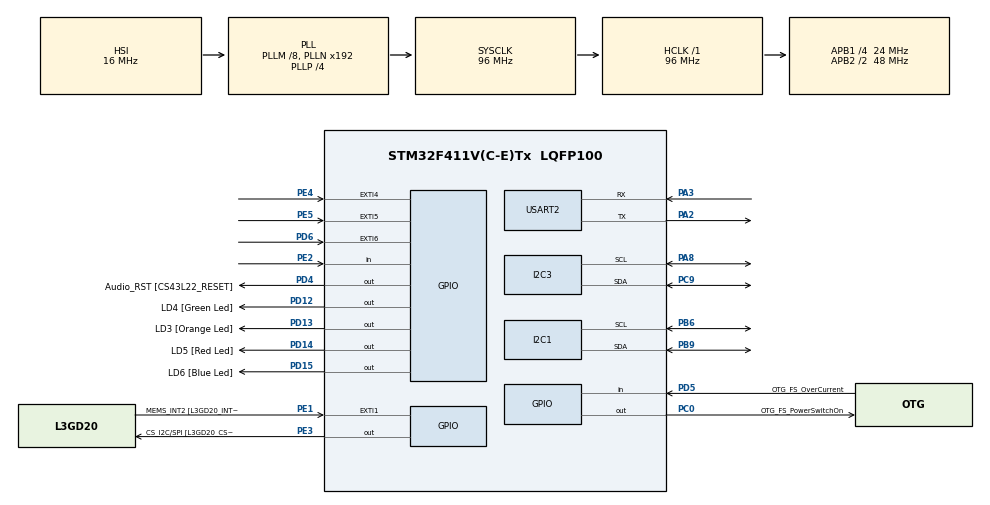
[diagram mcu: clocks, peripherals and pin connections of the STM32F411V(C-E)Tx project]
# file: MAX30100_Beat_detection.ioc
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I2C1.I2C_Mode=I2C_Fast
I2C3.I2C_Mode=I2C_Fast
Mcu.Family=STM32F4
Mcu.Name=STM32F411V(C-E)Tx
Mcu.Package=LQFP100
NVIC.EXTI9_5_IRQn=true\:0\:0\:false\:false\:true\:true\:true\:true
NVIC.PriorityGroup=NVIC_PRIORITYGROUP_0
NVIC.TIM2_IRQn=true\:0\:0\:false\:false\:true\:true\:true\:true
PA10.GPIO_Label=OTG_FS_ID
PA10.Signal=USB_OTG_FS_ID
PA11.GPIO_Label=OTG_FS_DM
PA11.Signal=USB_OTG_FS_DM
PA12.GPIO_Label=OTG_FS_DP
PA12.Signal=USB_OTG_FS_DP
PA13.GPIO_Label=SWDIO
PA13.Signal=SYS_JTMS-SWDIO
PA14.GPIO_Label=SWCLK
PA14.Signal=SYS_JTCK-SWCLK
PA2.Mode=Asynchronous
PA2.Signal=USART2_TX
PA3.Mode=Asynchronous
PA3.Signal=USART2_RX
PA4.GPIO_Label=I2S3_WS [CS43L22_LRCK]
PA4.GPIO_Mode=GPIO_MODE_AF_PP
PA4.GPIO_PuPd=GPIO_NOPULL
PA4.GPIO_Speed=GPIO_SPEED_FREQ_LOW
PA4.Signal=I2S3_WS
PA5.GPIO_Label=SPI1_SCK [L3GD20_SC/SPC]
PA5.Signal=SPI1_SCK
PA6.GPIO_Label=SPI1_MISO [L3GD20_AS0/SDO]
PA6.Signal=SPI1_MISO
PA7.GPIO_Label=SPI1_MOSI [L3GD20_SDA/SDI/SDO]
PA7.Signal=SPI1_MOSI
PA8.Mode=I2C
PA8.Signal=I2C3_SCL
PA9.GPIO_Label=VBUS_FS
PA9.Signal=USB_OTG_FS_VBUS
PB10.GPIO_Label=CLK_IN [MP45DT02_CLK]
PB10.Signal=I2S2_CK
PB12.Signal=I2S2_WS
PB3.GPIO_Label=SWO
PB3.Signal=SYS_JTDO-SWO
PB6.Mode=I2C
PB6.Signal=I2C1_SCL
PB9.Mode=I2C
PB9.Signal=I2C1_SDA
PC0.GPIO_Label=OTG_FS_PowerSwitchOn
PC0.PinState=GPIO_PIN_SET
PC0.Signal=GPIO_Output
PC10.GPIO_Label=I2S3_SCK [CS43L22_SCLK]
PC10.GPIO_Mode=GPIO_MODE_AF_PP
PC10.GPIO_PuPd=GPIO_NOPULL
PC10.GPIO_Speed=GPIO_SPEED_FREQ_LOW
PC10.Signal=I2S3_CK
PC12.GPIO_Label=I2S3_SD [CS43L22_SDIN]
PC12.GPIO_Mode=GPIO_MODE_AF_PP
PC12.GPIO_PuPd=GPIO_NOPULL
PC12.GPIO_Speed=GPIO_SPEED_FREQ_LOW
PC12.Signal=I2S3_SD
PC14-OSC32_IN.GPIO_Label=PC14-OSC32_IN
PC14-OSC32_IN.Mode=LSE-External-Oscillator
PC14-OSC32_IN.Signal=RCC_OSC32_IN
PC15-OSC32_OUT.GPIO_Label=PC15-OSC32_OUT
PC15-OSC32_OUT.Mode=LSE-External-Oscillator
PC15-OSC32_OUT.Signal=RCC_OSC32_OUT
PC3.GPIO_Label=PDM_OUT [MP45DT02_DOUT]
PC3.Signal=I2S2_SD
PC7.GPIO_Label=I2S3_MCK [CS43L22_MCLK]
PC7.GPIO_Mode=GPIO_MODE_AF_PP
PC7.GPIO_PuPd=GPIO_NOPULL
PC7.GPIO_Speed=GPIO_SPEED_FREQ_LOW
PC7.Signal=I2S3_MCK
PC9.Mode=I2C
PC9.Signal=I2C3_SDA
PD12.GPIO_Label=LD4 [Green Led]
PD12.GPIO_PuPd=GPIO_NOPULL
PD12.GPIO_Speed=GPIO_SPEED_FREQ_LOW
PD12.Signal=GPIO_Output
PD13.GPIO_Label=LD3 [Orange Led]
PD13.GPIO_PuPd=GPIO_NOPULL
PD13.GPIO_Speed=GPIO_SPEED_FREQ_LOW
PD13.Signal=GPIO_Output
PD14.GPIO_Label=LD5 [Red Led]
PD14.GPIO_PuPd=GPIO_NOPULL
PD14.GPIO_Speed=GPIO_SPEED_FREQ_LOW
PD14.Signal=GPIO_Output
PD15.GPIO_Label=LD6 [Blue Led]
PD15.GPIO_PuPd=GPIO_NOPULL
PD15.GPIO_Speed=GPIO_SPEED_FREQ_LOW
PD15.Signal=GPIO_Output
PD4.GPIO_Label=Audio_RST [CS43L22_RESET]
PD4.Signal=GPIO_Output
PD5.GPIO_Label=OTG_FS_OverCurrent
PD5.Signal=GPIO_Input
PD6.GPIO_ModeDefaultEXTI=GPIO_MODE_IT_FALLING
PD6.GPIO_PuPd=GPIO_PULLUP
PD6.Signal=GPXTI6
PE1.GPIO_Label=MEMS_INT2 [L3GD20_INT2]
PE1.GPIO_ModeDefaultEXTI=GPIO_MODE_EVT_RISING
PE1.Signal=GPXTI1
PE2.Signal=GPIO_Input
PE3.GPIO_Label=CS_I2C/SPI [L3GD20_CS_I2C/SPI]
PE3.Signal=GPIO_Output
PE4.GPIO_ModeDefaultEXTI=GPIO_MODE_EVT_RISING
PE4.Signal=GPXTI4
PE5.GPIO_ModeDefaultEXTI=GPIO_MODE_EVT_RISING
PE5.Signal=GPXTI5
PH0\ -\ OSC_IN.GPIO_Label=PH0-OSC_IN
PH0\ -\ OSC_IN.Mode=HSE-External-Oscillator
PH0\ -\ OSC_IN.Signal=RCC_OSC_IN
PH1\ -\ OSC_OUT.GPIO_Label=PH1-OSC_OUT
PH1\ -\ OSC_OUT.Mode=HSE-External-Oscillator
PH1\ -\ OSC_OUT.Signal=RCC_OSC_OUT
ProjectManager.HeapSize=0x200
ProjectManager.StackSize=0x400
ProjectManager.TargetToolchain=STM32CubeIDE
RCC.48MHZClocksFreq_Value=48000000
RCC.AHBFreq_Value=96000000
RCC.APB1CLKDivider=RCC_HCLK_DIV4
RCC.APB1Freq_Value=24000000
RCC.APB1TimFreq_Value=48000000
RCC.APB2CLKDivider=RCC_HCLK_DIV2
RCC.APB2Freq_Value=48000000
RCC.APB2TimFreq_Value=96000000
RCC.CortexFreq_Value=96000000
RCC.HCLKFreq_Value=96000000
RCC.HSE_VALUE=8000000
RCC.HSI_VALUE=16000000
RCC.PLLI2SM=5
RCC.PLLI2SN=200
RCC.PLLM=8
RCC.PLLP=RCC_PLLP_DIV4
RCC.PLLQ=8
RCC.SYSCLKFreq_VALUE=96000000
RCC.SYSCLKSource=RCC_SYSCLKSOURCE_PLLCLK
RCC.VCOOutputFreq_Value=384000000
TIM2.Period=0xFFFFFFFF
TIM2.Prescaler=48000
USART2.VirtualMode=VM_ASYNC
VP_TIM2_VS_ClockSourceINT.Mode=Internal
board=STM32F411E-DISCO

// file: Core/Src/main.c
/* USER CODE BEGIN Header */
/**
  ******************************************************************************
  * @file           : main.c
  * @brief          : Main program body
  ******************************************************************************
  * @attention
  *
  * Copyright (c) 2023 STMicroelectronics.
  * All rights reserved.
  *
  * This software is licensed under terms that can be found in the LICENSE file
  * in the root directory of this software component.
  * If no LICENSE file comes with this software, it is provided AS-IS.
  *
  ******************************************************************************
  */
/* USER CODE END Header */
#include "main.h"

/* USER CODE BEGIN Includes */
#include "SSD1306.h"
#include "MAX30102.h"
#include "GFX.h"
/* USER CODE END Includes */

 I2C_HandleTypeDef hi2c1;
I2C_HandleTypeDef hi2c3;

TIM_HandleTypeDef htim2;

UART_HandleTypeDef huart2;

/* USER CODE BEGIN PV */

 //static uint8_t Buf[4];

 LEDValue IrLED = {0, 0};
 LEDValue RedLED = {0, 0};
 float avgBPM = 0;
 float bpmSum;
 uint16_t Data;
 float bpmTable[BPM_SAMPLE_SIZE] = {0};
 uint16_t bpmIndex = 0;
 float DCFilteredIrLED, DCFilteredRedLED;
 float MeanFilteredIrLED, MeanFilteredRedLED;
 float ButterworthFilteredIrLED;
 uint16_t BeatValue2;
 uint8_t data[50]; // Tablica przechowujaca wysylana wiadomosc.
 uint16_t size = 0; // Rozmiar wysylanej wiadomosci

/* USER CODE END PV */

void SystemClock_Config(void);
static void MX_GPIO_Init(void);
static void MX_TIM2_Init(void);
static void MX_USART2_UART_Init(void);
static void MX_I2C3_Init(void);
static void MX_I2C1_Init(void);

int main(void)
{
  /* USER CODE BEGIN 1 */
	dcFilter RedFilter = {0, 0, 0};
	mean_diff_filter_t IrMeanFilter = {
			.index = 0,
			.sum = 0.0,
			.count = 0};
	butterworth_filter_t IrButterworthFilter;

  /* USER CODE END 1 */

  /* MCU Configuration--------------------------------------------------------*/

  /* Reset of all peripherals, Initializes the Flash interface and the Systick. */
  HAL_Init();

  /* Configure the system clock */
  SystemClock_Config();

  /* Initialize all configured peripherals */
  MX_GPIO_Init();
  MX_TIM2_Init();
  MX_USART2_UART_Init();
  MX_I2C3_Init();
  MX_I2C1_Init();
  /* USER CODE BEGIN 2 */
  MAX30100_Init();
  HAL_TIM_Base_Start(&htim2);
  MX_USART2_UART_Init();
  SSD1306_Init();
  /* USER CODE END 2 */

  /* Infinite loop */
  while (1)
  {

    /* USER CODE BEGIN 3 */
	  ReadOperation();
	  //FilteredIrLED = DCRemoval(IrLED, IRFilter, 0.95);
	  DCFilteredRedLED = DCRemoval(&IrLED, &RedFilter, 0.95);
	  MeanFilteredRedLED = meanDiff(DCFilteredRedLED, &IrMeanFilter);
	  ButterworthFilteredIrLED = (int16_t)-ButterworthFilter(MeanFilteredRedLED, &IrButterworthFilter);
	  uint16_t BeatValue = BeatDetection(ButterworthFilteredIrLED);
	  if (BeatValue>0)
	  {
		  BeatValue2 = BeatValue;
		  sprintf(data, "BPM:%d\r\n", BeatValue2);
		  SSD1306_display_clear();
		  GFX_draw_string(0, 32, (unsigned char *) data, WHITE, BLACK, 1, 1);
		  SSD1306_display_invert(false);
		  SSD1306_display_repaint();
	  }
  }
  /* USER CODE END 3 */
}

void SystemClock_Config(void)
{
  RCC_OscInitTypeDef RCC_OscInitStruct = {0};
  RCC_ClkInitTypeDef RCC_ClkInitStruct = {0};

  /** Configure the main internal regulator output voltage
  */
  __HAL_RCC_PWR_CLK_ENABLE();
  __HAL_PWR_VOLTAGESCALING_CONFIG(PWR_REGULATOR_VOLTAGE_SCALE1);

  /** Initializes the RCC Oscillators according to the specified parameters
  * in the RCC_OscInitTypeDef structure.
  */
  RCC_OscInitStruct.OscillatorType = RCC_OSCILLATORTYPE_HSI;
  RCC_OscInitStruct.HSIState = RCC_HSI_ON;
  RCC_OscInitStruct.HSICalibrationValue = RCC_HSICALIBRATION_DEFAULT;
  RCC_OscInitStruct.PLL.PLLState = RCC_PLL_ON;
  RCC_OscInitStruct.PLL.PLLSource = RCC_PLLSOURCE_HSI;
  RCC_OscInitStruct.PLL.PLLM = 8;
  RCC_OscInitStruct.PLL.PLLN = 192;
  RCC_OscInitStruct.PLL.PLLP = RCC_PLLP_DIV4;
  RCC_OscInitStruct.PLL.PLLQ = 8;
  if (HAL_RCC_OscConfig(&RCC_OscInitStruct) != HAL_OK)
  {
    Error_Handler();
  }

  /** Initializes the CPU, AHB and APB buses clocks
  */
  RCC_ClkInitStruct.ClockType = RCC_CLOCKTYPE_HCLK|RCC_CLOCKTYPE_SYSCLK
                              |RCC_CLOCKTYPE_PCLK1|RCC_CLOCKTYPE_PCLK2;
  RCC_ClkInitStruct.SYSCLKSource = RCC_SYSCLKSOURCE_PLLCLK;
  RCC_ClkInitStruct.AHBCLKDivider = RCC_SYSCLK_DIV1;
  RCC_ClkInitStruct.APB1CLKDivider = RCC_HCLK_DIV4;
  RCC_ClkInitStruct.APB2CLKDivider = RCC_HCLK_DIV2;

  if (HAL_RCC_ClockConfig(&RCC_ClkInitStruct, FLASH_LATENCY_3) != HAL_OK)
  {
    Error_Handler();
  }
}

static void MX_I2C1_Init(void)
{

  hi2c1.Instance = I2C1;
  hi2c1.Init.ClockSpeed = 400000;
  hi2c1.Init.DutyCycle = I2C_DUTYCYCLE_2;
  hi2c1.Init.OwnAddress1 = 0;
  hi2c1.Init.AddressingMode = I2C_ADDRESSINGMODE_7BIT;
  hi2c1.Init.DualAddressMode = I2C_DUALADDRESS_DISABLE;
  hi2c1.Init.OwnAddress2 = 0;
  hi2c1.Init.GeneralCallMode = I2C_GENERALCALL_DISABLE;
  hi2c1.Init.NoStretchMode = I2C_NOSTRETCH_DISABLE;
  if (HAL_I2C_Init(&hi2c1) != HAL_OK)
  {
    Error_Handler();
  }

}

static void MX_I2C3_Init(void)
{

  hi2c3.Instance = I2C3;
  hi2c3.Init.ClockSpeed = 400000;
  hi2c3.Init.DutyCycle = I2C_DUTYCYCLE_2;
  hi2c3.Init.OwnAddress1 = 0;
  hi2c3.Init.AddressingMode = I2C_ADDRESSINGMODE_7BIT;
  hi2c3.Init.DualAddressMode = I2C_DUALADDRESS_DISABLE;
  hi2c3.Init.OwnAddress2 = 0;
  hi2c3.Init.GeneralCallMode = I2C_GENERALCALL_DISABLE;
  hi2c3.Init.NoStretchMode = I2C_NOSTRETCH_DISABLE;
  if (HAL_I2C_Init(&hi2c3) != HAL_OK)
  {
    Error_Handler();
  }

}

static void MX_TIM2_Init(void)
{

  TIM_ClockConfigTypeDef sClockSourceConfig = {0};
  TIM_MasterConfigTypeDef sMasterConfig = {0};

  htim2.Instance = TIM2;
  htim2.Init.Prescaler = 48000;
  htim2.Init.CounterMode = TIM_COUNTERMODE_UP;
  htim2.Init.Period = 0xFFFFFFFF;
  htim2.Init.ClockDivision = TIM_CLOCKDIVISION_DIV1;
  htim2.Init.AutoReloadPreload = TIM_AUTORELOAD_PRELOAD_DISABLE;
  if (HAL_TIM_Base_Init(&htim2) != HAL_OK)
  {
    Error_Handler();
  }
  sClockSourceConfig.ClockSource = TIM_CLOCKSOURCE_INTERNAL;
  if (HAL_TIM_ConfigClockSource(&htim2, &sClockSourceConfig) != HAL_OK)
  {
    Error_Handler();
  }
  sMasterConfig.MasterOutputTrigger = TIM_TRGO_RESET;
  sMasterConfig.MasterSlaveMode = TIM_MASTERSLAVEMODE_DISABLE;
  if (HAL_TIMEx_MasterConfigSynchronization(&htim2, &sMasterConfig) != HAL_OK)
  {
    Error_Handler();
  }

}

static void MX_USART2_UART_Init(void)
{

  huart2.Instance = USART2;
  huart2.Init.BaudRate = 115200;
  huart2.Init.WordLength = UART_WORDLENGTH_8B;
  huart2.Init.StopBits = UART_STOPBITS_1;
  huart2.Init.Parity = UART_PARITY_NONE;
  huart2.Init.Mode = UART_MODE_TX_RX;
  huart2.Init.HwFlowCtl = UART_HWCONTROL_NONE;
  huart2.Init.OverSampling = UART_OVERSAMPLING_16;
  if (HAL_UART_Init(&huart2) != HAL_OK)
  {
    Error_Handler();
  }

}

static void MX_GPIO_Init(void)
{
  GPIO_InitTypeDef GPIO_InitStruct = {0};

  /* GPIO Ports Clock Enable */
  __HAL_RCC_GPIOE_CLK_ENABLE();
  __HAL_RCC_GPIOC_CLK_ENABLE();
  __HAL_RCC_GPIOH_CLK_ENABLE();
  __HAL_RCC_GPIOA_CLK_ENABLE();
  __HAL_RCC_GPIOB_CLK_ENABLE();
  __HAL_RCC_GPIOD_CLK_ENABLE();

  /*Configure GPIO pin Output Level */
  HAL_GPIO_WritePin(CS_I2C_SPI_GPIO_Port, CS_I2C_SPI_Pin, GPIO_PIN_RESET);

  /*Configure GPIO pin Output Level */
  HAL_GPIO_WritePin(OTG_FS_PowerSwitchOn_GPIO_Port, OTG_FS_PowerSwitchOn_Pin, GPIO_PIN_SET);

  /*Configure GPIO pin Output Level */
  HAL_GPIO_WritePin(GPIOD, LD4_Pin|LD3_Pin|LD5_Pin|LD6_Pin
                          |Audio_RST_Pin, GPIO_PIN_RESET);

  /*Configure GPIO pin : PE2 */
  GPIO_InitStruct.Pin = GPIO_PIN_2;
  GPIO_InitStruct.Mode = GPIO_MODE_INPUT;
  GPIO_InitStruct.Pull = GPIO_NOPULL;
  HAL_GPIO_Init(GPIOE, &GPIO_InitStruct);

  /*Configure GPIO pin : CS_I2C_SPI_Pin */
  GPIO_InitStruct.Pin = CS_I2C_SPI_Pin;
  GPIO_InitStruct.Mode = GPIO_MODE_OUTPUT_PP;
  GPIO_InitStruct.Pull = GPIO_NOPULL;
  GPIO_InitStruct.Speed = GPIO_SPEED_FREQ_LOW;
  HAL_GPIO_Init(CS_I2C_SPI_GPIO_Port, &GPIO_InitStruct);

  /*Configure GPIO pins : PE4 PE5 MEMS_INT2_Pin */
  GPIO_InitStruct.Pin = GPIO_PIN_4|GPIO_PIN_5|MEMS_INT2_Pin;
  GPIO_InitStruct.Mode = GPIO_MODE_EVT_RISING;
  GPIO_InitStruct.Pull = GPIO_NOPULL;
  HAL_GPIO_Init(GPIOE, &GPIO_InitStruct);

  /*Configure GPIO pin : OTG_FS_PowerSwitchOn_Pin */
  GPIO_InitStruct.Pin = OTG_FS_PowerSwitchOn_Pin;
  GPIO_InitStruct.Mode = GPIO_MODE_OUTPUT_PP;
  GPIO_InitStruct.Pull = GPIO_NOPULL;
  GPIO_InitStruct.Speed = GPIO_SPEED_FREQ_LOW;
  HAL_GPIO_Init(OTG_FS_PowerSwitchOn_GPIO_Port, &GPIO_InitStruct);

  /*Configure GPIO pin : PDM_OUT_Pin */
  GPIO_InitStruct.Pin = PDM_OUT_Pin;
  GPIO_InitStruct.Mode = GPIO_MODE_AF_PP;
  GPIO_InitStruct.Pull = GPIO_NOPULL;
  GPIO_InitStruct.Speed = GPIO_SPEED_FREQ_LOW;
  GPIO_InitStruct.Alternate = GPIO_AF5_SPI2;
  HAL_GPIO_Init(PDM_OUT_GPIO_Port, &GPIO_InitStruct);

  /*Configure GPIO pin : I2S3_WS_Pin */
  GPIO_InitStruct.Pin = I2S3_WS_Pin;
  GPIO_InitStruct.Mode = GPIO_MODE_AF_PP;
  GPIO_InitStruct.Pull = GPIO_NOPULL;
  GPIO_InitStruct.Speed = GPIO_SPEED_FREQ_LOW;
  GPIO_InitStruct.Alternate = GPIO_AF6_SPI3;
  HAL_GPIO_Init(I2S3_WS_GPIO_Port, &GPIO_InitStruct);

  /*Configure GPIO pins : SPI1_SCK_Pin SPI1_MISO_Pin SPI1_MOSI_Pin */
  GPIO_InitStruct.Pin = SPI1_SCK_Pin|SPI1_MISO_Pin|SPI1_MOSI_Pin;
  GPIO_InitStruct.Mode = GPIO_MODE_AF_PP;
  GPIO_InitStruct.Pull = GPIO_NOPULL;
  GPIO_InitStruct.Speed = GPIO_SPEED_FREQ_VERY_HIGH;
  GPIO_InitStruct.Alternate = GPIO_AF5_SPI1;
  HAL_GPIO_Init(GPIOA, &GPIO_InitStruct);

  /*Configure GPIO pins : CLK_IN_Pin PB12 */
  GPIO_InitStruct.Pin = CLK_IN_Pin|GPIO_PIN_12;
  GPIO_InitStruct.Mode = GPIO_MODE_AF_PP;
  GPIO_InitStruct.Pull = GPIO_NOPULL;
  GPIO_InitStruct.Speed = GPIO_SPEED_FREQ_LOW;
  GPIO_InitStruct.Alternate = GPIO_AF5_SPI2;
  HAL_GPIO_Init(GPIOB, &GPIO_InitStruct);

  /*Configure GPIO pins : LD4_Pin LD3_Pin LD5_Pin LD6_Pin
                           Audio_RST_Pin */
  GPIO_InitStruct.Pin = LD4_Pin|LD3_Pin|LD5_Pin|LD6_Pin
                          |Audio_RST_Pin;
  GPIO_InitStruct.Mode = GPIO_MODE_OUTPUT_PP;
  GPIO_InitStruct.Pull = GPIO_NOPULL;
  GPIO_InitStruct.Speed = GPIO_SPEED_FREQ_LOW;
  HAL_GPIO_Init(GPIOD, &GPIO_InitStruct);

  /*Configure GPIO pins : I2S3_MCK_Pin I2S3_SCK_Pin I2S3_SD_Pin */
  GPIO_InitStruct.Pin = I2S3_MCK_Pin|I2S3_SCK_Pin|I2S3_SD_Pin;
  GPIO_InitStruct.Mode = GPIO_MODE_AF_PP;
  GPIO_InitStruct.Pull = GPIO_NOPULL;
  GPIO_InitStruct.Speed = GPIO_SPEED_FREQ_LOW;
  GPIO_InitStruct.Alternate = GPIO_AF6_SPI3;
  HAL_GPIO_Init(GPIOC, &GPIO_InitStruct);

  /*Configure GPIO pin : VBUS_FS_Pin */
  GPIO_InitStruct.Pin = VBUS_FS_Pin;
  GPIO_InitStruct.Mode = GPIO_MODE_INPUT;
  GPIO_InitStruct.Pull = GPIO_NOPULL;
  HAL_GPIO_Init(VBUS_FS_GPIO_Port, &GPIO_InitStruct);

  /*Configure GPIO pins : OTG_FS_ID_Pin OTG_FS_DM_Pin OTG_FS_DP_Pin */
  GPIO_InitStruct.Pin = OTG_FS_ID_Pin|OTG_FS_DM_Pin|OTG_FS_DP_Pin;
  GPIO_InitStruct.Mode = GPIO_MODE_AF_PP;
  GPIO_InitStruct.Pull = GPIO_NOPULL;
  GPIO_InitStruct.Speed = GPIO_SPEED_FREQ_VERY_HIGH;
  GPIO_InitStruct.Alternate = GPIO_AF10_OTG_FS;
  HAL_GPIO_Init(GPIOA, &GPIO_InitStruct);

  /*Configure GPIO pin : OTG_FS_OverCurrent_Pin */
  GPIO_InitStruct.Pin = OTG_FS_OverCurrent_Pin;
  GPIO_InitStruct.Mode = GPIO_MODE_INPUT;
  GPIO_InitStruct.Pull = GPIO_NOPULL;
  HAL_GPIO_Init(OTG_FS_OverCurrent_GPIO_Port, &GPIO_InitStruct);

  /*Configure GPIO pin : PD6 */
  GPIO_InitStruct.Pin = GPIO_PIN_6;
  GPIO_InitStruct.Mode = GPIO_MODE_IT_FALLING;
  GPIO_InitStruct.Pull = GPIO_PULLUP;
  HAL_GPIO_Init(GPIOD, &GPIO_InitStruct);

  /* EXTI interrupt init*/
  HAL_NVIC_SetPriority(EXTI9_5_IRQn, 0, 0);
  HAL_NVIC_EnableIRQ(EXTI9_5_IRQn);

}

/* USER CODE BEGIN 4 */

void HAL_GPIO_EXTI_Callback(uint16_t GPIO_Pin)
{
	;
}
/* USER CODE END 4 */

void Error_Handler(void)
{
  __disable_irq();
  while (1)
  {
  }
}
